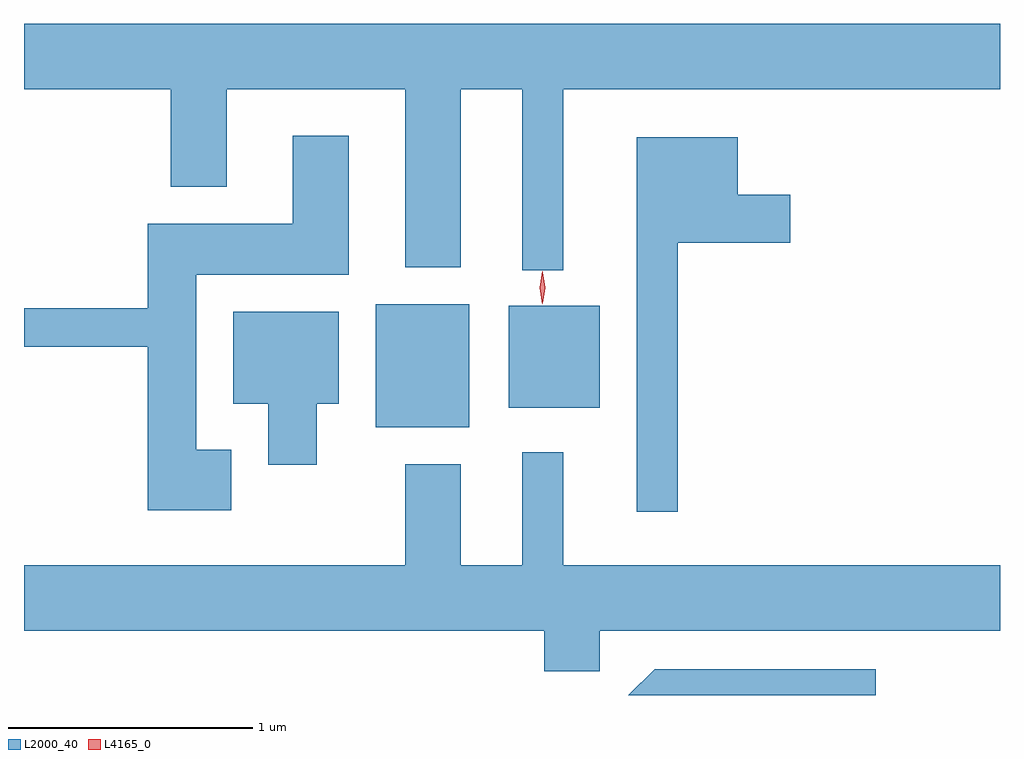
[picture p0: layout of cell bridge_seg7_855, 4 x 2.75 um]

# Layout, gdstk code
import gdstk
lib = gdstk.Library(unit=1e-6, precision=1e-09)
def R(c, l, rs):  # rectangles x0, y0, x1, y1
    for r in rs: c.add(gdstk.rectangle(r[:2], r[2:], *l))
def P(c, l, *ps):  # polygons
    for p in ps: c.add(gdstk.Polygon(p, *l))
L2000_40 = (2000, 40)
L4165_0 = (4165, 0)

bridge_seg7_855 = lib.new_cell('bridge_seg7_855')
R(bridge_seg7_855, L2000_40, [(282.461,1735.131,282.844,1735.634), (283.006,1735.211,283.379,1735.629)])
P(bridge_seg7_855, L2000_40, [(281.019,1736.516),(281.621,1736.516),(281.621,1736.116),(281.849,1736.116),(281.849,1736.516),(282.581,1736.516),(282.581,1735.786),(282.809,1735.786),(282.809,1736.516),(283.061,1736.516),(283.061,1735.773),(283.229,1735.773),(283.229,1736.516),(285.019,1736.516),(285.019,1736.784),(281.019,1736.784)],
  [(281.869,1735.039),(281.724,1735.039),(281.724,1735.756),(282.349,1735.756),(282.349,1736.324),(282.121,1736.324),(282.121,1735.964),(281.526,1735.964),(281.526,1735.619),(281.019,1735.619),(281.019,1735.461),(281.526,1735.461),(281.526,1734.791),(281.869,1734.791)],
  [(283.699,1735.886),(284.159,1735.886),(284.159,1736.084),(283.944,1736.084),(283.944,1736.319),(283.531,1736.319),(283.531,1734.783),(283.699,1734.783)],
  [(282.219,1735.226),(282.309,1735.226),(282.309,1735.604),(281.876,1735.604),(281.876,1735.226),(282.021,1735.226),(282.021,1734.976),(282.219,1734.976)],
  [(283.379,1734.296),(285.019,1734.296),(285.019,1734.564),(283.229,1734.564),(283.229,1735.028),(283.061,1735.028),(283.061,1734.564),(282.809,1734.564),(282.809,1734.979),(282.581,1734.979),(282.581,1734.564),(281.019,1734.564),(281.019,1734.296),(283.151,1734.296),(283.151,1734.131),(283.379,1734.131)],
  [(284.509,1734.139),(283.604,1734.139),(283.496,1734.032),(284.509,1734.032)])
P(bridge_seg7_855, L4165_0, [(283.145,1735.638),(283.145,1735.638),(283.135,1735.702),(283.144,1735.766),(283.144,1735.767),(283.145,1735.766),(283.155,1735.702),(283.146,1735.638)],
  [(283.142,1735.634),(283.142,1735.634),(283.132,1735.702),(283.142,1735.77),(283.142,1735.77),(283.143,1735.77),(283.152,1735.702),(283.143,1735.634)])

lib.write_gds('bridge_seg7_855.gds')
